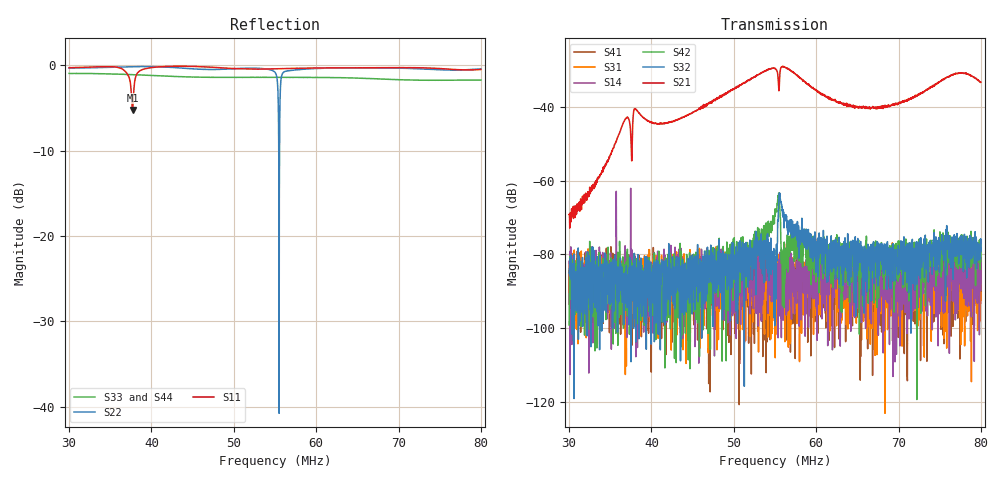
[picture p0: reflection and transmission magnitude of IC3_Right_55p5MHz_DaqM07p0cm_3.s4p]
#  HZ  S  DB  R  50.00
! Rohde & Schwarz Vector Network Analyzer
! Rohde-Schwarz,ZNB8-4Port,1311601044102961,2.82
! Created: UTC 2/13/2019, 1:57:46 PM
! freq[Hz]  db:S11  ang:S11  db:S12  ang:S12  db:S13  ang:S13  db:S14  ang:S14
!  db:S21  ang:S21  db:S22  ang:S22  db:S23  ang:S23  db:S24  ang:S24
!  db:S31  ang:S31  db:S32  ang:S32  db:S33  ang:S33  db:S34  ang:S34
!  db:S41  ang:S41  db:S42  ang:S42  db:S43  ang:S43  db:S44  ang:S44
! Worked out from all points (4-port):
!   2001 points, 30 MHz to 80 MHz, reference 50 ohm
!   strongest paths, dB at 30 MHz, 42.5 MHz, 55 MHz, 67.5 MHz, 80 MHz:
!     S21: -69.2, -44.0, -29.6, -40.1, -33.3
!     S32: -85.1, -86.4, -84.9, -78.3, -79.3
!     S42: -99.2, -89.5, -67.7, -85.8, -79.1
!     S14: -93.4, -81.0, -90.9, -92.4, -89.8
!     S31: -82.3, -83.9, -91.5, -83.2, -85.7
!     S41: -90.2, -93.3, -88.7, -100.2, -92.3
!   lowest |S11| = -5.2 dB at 37.7 MHz (marker M1), VSWR 3.43, Z = 111 - j76.3 ohm
!   |S11| at or under -10 dB: nowhere
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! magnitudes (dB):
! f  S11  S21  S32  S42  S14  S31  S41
! 30 MHz  -0.3  -69.2  -85.1  -99.2  -93.4  -82.3  -90.2
! 37.7 MHz  -5.2  -46.3  -90.8  -88.8  -87.1  -82.1  -84.7
! 54.9 MHz  -0.4  -29.5  -97.2  -71.0  -87.0  -84.8  -87.5
! 55.65 MHz  -0.4  -29.9  -65.0  -70.0  -90.1  -91.9  -87.6
! 56 MHz  -0.4  -29.1  -70.0  -79.2  -82.8  -82.2  -81.4
! 59.75 MHz  -0.3  -35.1  -80.4  -85.5  -80.4  -84.0  -91.4
! 80 MHz  -0.5  -33.3  -79.3  -79.1  -89.8  -85.7  -92.3
